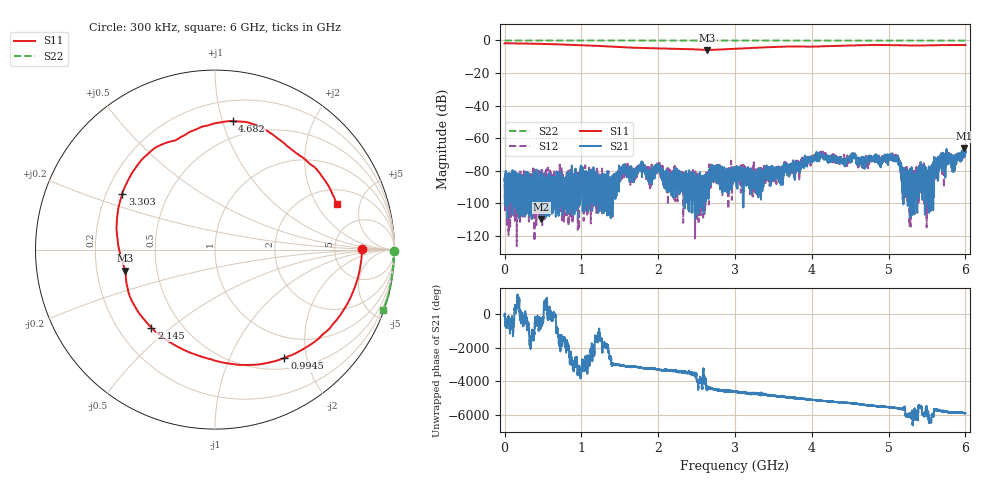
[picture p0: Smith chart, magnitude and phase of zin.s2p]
!  8/10/2020  01:44:55
! Ref Plane: 0.000 mm
# MHZ S MA R  50
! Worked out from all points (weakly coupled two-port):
!   10001 points, 300 kHz to 6 GHz, reference 50 ohm
!   highest |S21| = -66.12 dB at 5.983 GHz (marker M1); lowest = -109.8 dB at 479.7 MHz (marker M2)
!   lowest |S11| = -5.8 dB at 2.64 GHz (marker M3), VSWR 3.12, Z = 16.2 - j5.19 ohm
!   |S11| at or under -10 dB: nowhere
!   |S22| runs from -0.1 to 0.0 dB; largest |S21 - S12| = 0.00026
!   S11 on the Smith chart (normalised r, x): 300 kHz: 10, +0; 994.5 MHz: 0.66, -1.63; 2.145 GHz: 0.34, -0.43; 3.303 GHz: 0.27, +0.26; 4.682 GHz: 0.36, +1.08; 6 GHz: 2.84, +3.01
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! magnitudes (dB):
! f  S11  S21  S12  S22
! 300 kHz  -1.7  -86.2  -87.1  0.0
! 479.7 MHz  -2.1  -109.8  -85.3  0.0
! 994.5 MHz  -2.9  -88.2  -92.3  0.0
! 1 GHz  -2.9  -80.1  -86.6  0.0
! 2.001 GHz  -4.9  -78.4  -76.1  0.0
! 2.145 GHz  -5.0  -84.3  -85.1  0.0
! 2.64 GHz  -5.8  -85.0  -87.7  0.0
! 3 GHz  -5.1  -78.5  -80.1  0.0
! 3.303 GHz  -4.4  -84.4  -86.0  0.0
! 3.6 GHz  -3.8  -79.8  -81.1  0.0
! 4 GHz  -3.8  -73.0  -70.7  0.0
! 4.125 GHz  -3.6  -69.6  -69.5  0.0
! 4.429 GHz  -3.2  -73.8  -73.3  0.0
! 4.541 GHz  -3.0  -71.5  -71.7  0.0
! 4.682 GHz  -2.8  -73.5  -71.7  0.0
! 5 GHz  -2.8  -72.5  -71.6  0.0
! 5.107 GHz  -2.9  -73.9  -71.2  0.0
! 5.191 GHz  -3.0  -85.7  -87.2  0.0
! 5.522 GHz  -3.0  -83.0  -97.5  0.0
! 5.686 GHz  -2.8  -70.8  -70.7  0.0
! 5.983 GHz  -2.8  -66.1  -68.5  -0.1
! 6 GHz  -2.8  -68.3  -70.2  -0.1
